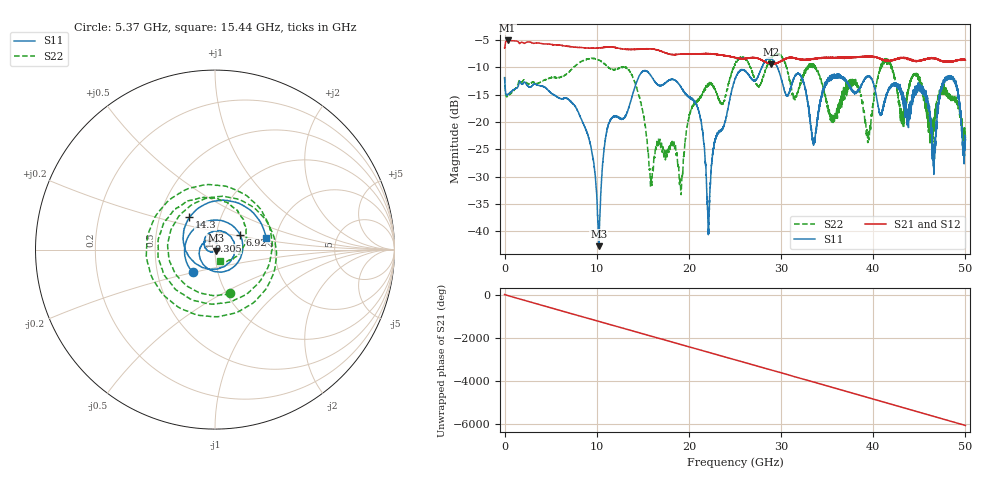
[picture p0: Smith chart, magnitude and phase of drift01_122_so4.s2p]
!Created with skrf (http://scikit-rf.org).
# Hz S RI R 50.0
!freq ReS11 ImS11 ReS21 ImS21 ReS12 ImS12 ReS22 ImS22
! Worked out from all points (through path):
!   10001 points, 300 kHz to 50 GHz, reference 50 ohm
!   highest |S21| = -5.05 dB at 325.3 MHz (marker M1); lowest = -9.4 dB at 28.95 GHz (marker M2)
!   group delay of S21, straight-line fit = 336 ps
!   lowest |S11| = -42.8 dB at 10.22 GHz (marker M3), VSWR 1.01, Z = 50.5 - j0.56 ohm
!   |S11| at or under -10 dB: start of sweep to 27.91 GHz; 29.6 GHz to end of sweep
!   |S22| runs from -33.3 to -7.5 dB; largest |S21 - S12| = 0.014
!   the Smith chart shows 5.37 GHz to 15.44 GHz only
!   S11 on the Smith chart (normalised r, x): 5.37 GHz: 0.76, -0.20; 6.92 GHz: 1.30, +0.22; 9.305 GHz: 0.93, +0.10; 14.3 GHz: 0.71, +0.27; 15.44 GHz: 1.77, +0.25
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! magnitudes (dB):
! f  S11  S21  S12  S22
! 300 kHz  -11.9  -6.4  -6.5  -11.7
! 325.3 MHz  -15.0  -5.1  -5.1  -15.3
! 5.37 GHz  -15.0  -5.9  -5.9  -11.8
! 6.92 GHz  -15.9  -6.1  -6.1  -11.0
! 8.335 GHz  -19.5  -6.4  -6.4  -8.9
! 9.305 GHz  -24.1  -6.4  -6.4  -8.4
! 10.22 GHz  -42.8  -6.4  -6.4  -8.6
! 11.23 GHz  -20.7  -6.3  -6.3  -9.9
! 14.3 GHz  -12.8  -6.7  -6.7  -13.5
! 15.44 GHz  -10.7  -6.6  -6.6  -23.0
! 16.67 GHz  -13.2  -6.9  -6.9  -23.4
! 19.14 GHz  -13.6  -7.5  -7.6  -33.2
! 20.85 GHz  -16.9  -7.6  -7.5  -16.2
! 22.13 GHz  -40.4  -7.5  -7.5  -13.3
! 25 GHz  -12.1  -8.2  -8.2  -9.5
! 28.95 GHz  -8.4  -9.4  -9.4  -8.2
! 33.34 GHz  -22.5  -8.5  -8.4  -9.5
! 39.47 GHz  -11.6  -8.0  -8.0  -21.9
! 41.67 GHz  -13.8  -8.7  -8.7  -9.0
! 46.56 GHz  -27.7  -8.3  -8.2  -21.0
! 48.55 GHz  -11.8  -8.9  -8.9  -15.7
! 50 GHz  -23.3  -8.7  -8.7  -22.8
